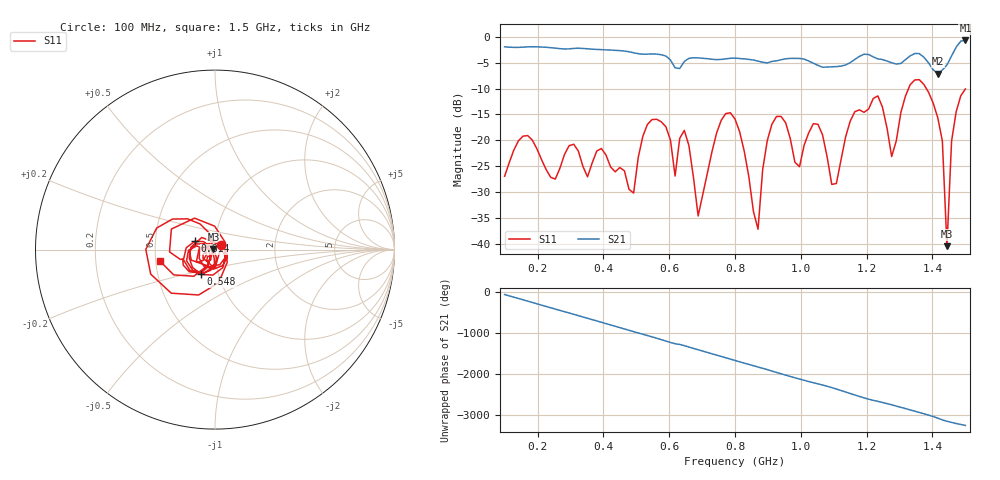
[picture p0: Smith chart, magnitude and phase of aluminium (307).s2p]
! NanoVNA-App
! Date: 2025-09-25 14:57:40
! Start: 100MHz Stop: 1,5GHz Points: 101
! S-Parameter data: F S11 S21 S12 S22
# Hz S RI R 50
!  Frequency  S11_Real  S11_Imag  S21_Real  S21_Imag  S12_Real  S12_Imag  S22_Real  S22_Imag
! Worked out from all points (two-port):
!   101 points, 100 MHz to 1.5 GHz, reference 50 ohm
!   highest |S21| = -0.69 dB at 1.5 GHz (marker M1); lowest = -7.1 dB at 1.416 GHz (marker M2)
!   |S21| within 3 dB of the highest: start of sweep to 589.1 MHz; 1.458 GHz to end of sweep (the widest 2 of 4)
!   lowest |S11| = -40.5 dB at 1.444 GHz (marker M3), VSWR 1.02, Z = 49.1 + j0.337 ohm
!   |S11| at or under -10 dB: start of sweep to 1.327 GHz; 1.381 GHz to end of sweep
!   S12 and S22 are empty: the file has one direction only
!   S11 on the Smith chart (normalised r, x): 100 MHz: 1.07, +0.06; 548 MHz: 0.82, -0.23; 814 MHz: 0.80, +0.07; 1.5 GHz: 0.53, -0.07
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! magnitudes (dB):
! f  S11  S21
! 100 MHz  -27.0  -1.9
! 338 MHz  -25.1  -2.2
! 492 MHz  -30.2  -3.1
! 548 MHz  -16.0  -3.3
! 576 MHz  -16.4  -3.5
! 618 MHz  -26.9  -6.0
! 646 MHz  -18.1  -4.7
! 688 MHz  -34.6  -4.1
! 800 MHz  -15.9  -4.1
! 814 MHz  -18.3  -4.2
! 870 MHz  -37.2  -4.7
! 912 MHz  -16.9  -4.7
! 996 MHz  -25.1  -4.2
! 1.038 GHz  -16.8  -5.1
! 1.108 GHz  -28.4  -5.7
! 1.234 GHz  -11.4  -4.2
! 1.276 GHz  -23.1  -5.0
! 1.346 GHz  -8.3  -3.2
! 1.416 GHz  -15.6  -7.1
! 1.444 GHz  -40.5  -5.4
! 1.458 GHz  -20.2  -3.7
! 1.5 GHz  -10.1  -0.7
